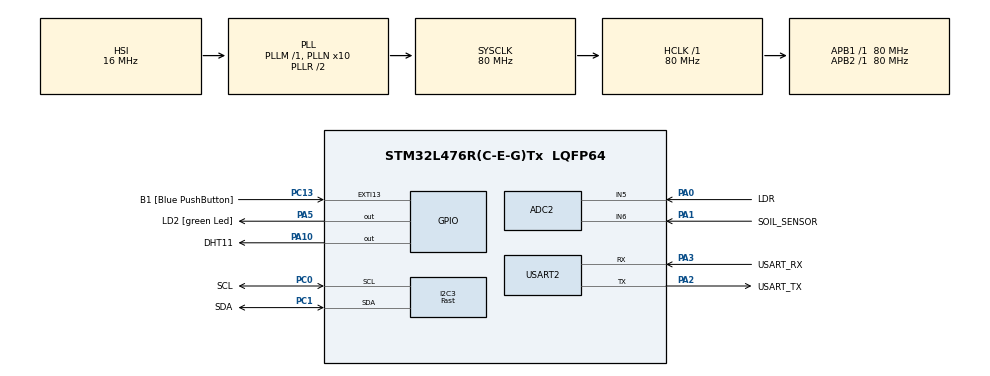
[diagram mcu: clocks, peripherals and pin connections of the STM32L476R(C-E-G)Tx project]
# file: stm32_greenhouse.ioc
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ADC2.Channel-0\#ChannelRegularConversion=ADC_CHANNEL_5
ADC2.Channel-1\#ChannelRegularConversion=ADC_CHANNEL_6
ADC2.ClockPrescaler=ADC_CLOCK_SYNC_PCLK_DIV1
ADC2.NbrOfConversion=2
ADC2.NbrOfConversionFlag=1
ADC2.OffsetNumber-0\#ChannelRegularConversion=ADC_OFFSET_NONE
ADC2.OffsetNumber-1\#ChannelRegularConversion=ADC_OFFSET_NONE
ADC2.Rank-0\#ChannelRegularConversion=1
ADC2.Rank-1\#ChannelRegularConversion=2
ADC2.SamplingTime-0\#ChannelRegularConversion=ADC_SAMPLETIME_247CYCLES_5
ADC2.SamplingTime-1\#ChannelRegularConversion=ADC_SAMPLETIME_247CYCLES_5
I2C3.I2C_Speed_Mode=I2C_Fast
I2C3.Timing=0x00702991
Mcu.Family=STM32L4
Mcu.Name=STM32L476R(C-E-G)Tx
Mcu.Package=LQFP64
NVIC.PriorityGroup=NVIC_PRIORITYGROUP_4
NVIC.USART2_IRQn=true\:0\:0\:false\:false\:true\:true\:true\:true
PA0.GPIO_Label=LDR
PA0.Signal=SharedAnalog_PA0
PA1.GPIO_Label=SOIL_SENSOR
PA1.Signal=ADCx_IN6
PA10.GPIO_Label=DHT11
PA10.Signal=GPIO_Output
PA13\ (JTMS-SWDIO).GPIO_Label=TMS
PA13\ (JTMS-SWDIO).Mode=Serial_Wire
PA13\ (JTMS-SWDIO).Signal=SYS_JTMS-SWDIO
PA14\ (JTCK-SWCLK).GPIO_Label=TCK
PA14\ (JTCK-SWCLK).Mode=Serial_Wire
PA14\ (JTCK-SWCLK).Signal=SYS_JTCK-SWCLK
PA2.GPIO_Label=USART_TX
PA2.GPIO_Mode=GPIO_MODE_AF_PP
PA2.GPIO_PuPd=GPIO_NOPULL
PA2.GPIO_Speed=GPIO_SPEED_FREQ_VERY_HIGH
PA2.Mode=Asynchronous
PA2.Signal=USART2_TX
PA3.GPIO_Label=USART_RX
PA3.GPIO_Mode=GPIO_MODE_AF_PP
PA3.GPIO_PuPd=GPIO_NOPULL
PA3.GPIO_Speed=GPIO_SPEED_FREQ_VERY_HIGH
PA3.Mode=Asynchronous
PA3.Signal=USART2_RX
PA5.GPIO_Label=LD2 [green Led]
PA5.GPIO_ModeDefaultOutputPP=GPIO_MODE_OUTPUT_PP
PA5.GPIO_PuPd=GPIO_NOPULL
PA5.GPIO_Speed=GPIO_SPEED_FREQ_LOW
PA5.Signal=GPIO_Output
PB3\ (JTDO-TRACESWO).GPIO_Label=SWO
PB3\ (JTDO-TRACESWO).Signal=SYS_JTDO-SWO
PC0.GPIO_Label=SCL
PC0.Mode=I2C
PC0.Signal=I2C3_SCL
PC1.GPIO_Label=SDA
PC1.Mode=I2C
PC1.Signal=I2C3_SDA
PC13.GPIO_Label=B1 [Blue PushButton]
PC13.GPIO_ModeDefaultEXTI=GPIO_MODE_IT_FALLING
PC13.GPIO_PuPd=GPIO_NOPULL
PC13.Signal=GPXTI13
PC14-OSC32_IN\ (PC14).Mode=LSE-External-Oscillator
PC14-OSC32_IN\ (PC14).Signal=RCC_OSC32_IN
PC15-OSC32_OUT\ (PC15).Mode=LSE-External-Oscillator
PC15-OSC32_OUT\ (PC15).Signal=RCC_OSC32_OUT
PH0-OSC_IN\ (PH0).Signal=RCC_OSC_IN
PH1-OSC_OUT\ (PH1).Signal=RCC_OSC_OUT
ProjectManager.HeapSize=0x200
ProjectManager.StackSize=0x400
ProjectManager.TargetToolchain=STM32CubeIDE
RCC.ADCFreq_Value=64000000
RCC.AHBFreq_Value=80000000
RCC.APB1Freq_Value=80000000
RCC.APB1TimFreq_Value=80000000
RCC.APB2Freq_Value=80000000
RCC.APB2TimFreq_Value=80000000
RCC.CortexFreq_Value=80000000
RCC.HCLKFreq_Value=80000000
RCC.HSE_VALUE=8000000
RCC.HSI_VALUE=16000000
RCC.MSI_VALUE=4000000
RCC.PLLN=10
RCC.PLLSourceVirtual=RCC_PLLSOURCE_HSI
RCC.PREFETCH_ENABLE=1
RCC.SYSCLKFreq_VALUE=80000000
RCC.SYSCLKSource=RCC_SYSCLKSOURCE_PLLCLK
RCC.USBFreq_Value=64000000
RCC.VCOOutputFreq_Value=160000000
SH.ADCx_IN6.0=ADC2_IN6,IN6-Single-Ended
SH.SharedAnalog_PA0.0=GPIO_Analog
SH.SharedAnalog_PA0.1=ADC2_IN5,IN5-Single-Ended
TIM6.Prescaler=79
USART2.VirtualMode-Asynchronous=VM_ASYNC
VP_TIM6_VS_ClockSourceINT.Mode=Enable_Timer
board=NUCLEO-L476RG

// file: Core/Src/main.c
/* USER CODE BEGIN Header */
/**
  ******************************************************************************
  * @file           : main.c
  * @brief          : Main program body
  ******************************************************************************
  * @attention
  *
  * Copyright (c) 2026 STMicroelectronics.
  * All rights reserved.
  *
  * This software is licensed under terms that can be found in the LICENSE file
  * in the root directory of this software component.
  * If no LICENSE file comes with this software, it is provided AS-IS.
  *
  ******************************************************************************
  */
/* USER CODE END Header */
#include "main.h"

/* USER CODE BEGIN Includes */
#include "fonts.h"
#include "ssd1306.h"

#include <stdio.h>
#include <stdlib.h>
#include <string.h>
/* USER CODE END Includes */

/* USER CODE BEGIN PD */
#define AIR_VALUE  3550
#define WATER_VALUE  1440

/* USER CODE END PD */

ADC_HandleTypeDef hadc2;

I2C_HandleTypeDef hi2c3;

TIM_HandleTypeDef htim6;

UART_HandleTypeDef huart2;

/* USER CODE BEGIN PV */

// LDR variables
uint32_t ldr = 0;
uint32_t ldr_percent = 0;

// Soil sensor variables
uint32_t soil_humidity = 0;
uint32_t soil_percent = 0;

// DHT11 variables
uint8_t response = 0;
uint8_t j;
float temp, hum;

/* USER CODE END PV */

void SystemClock_Config(void);
static void MX_GPIO_Init(void);
static void MX_USART2_UART_Init(void);
static void MX_ADC2_Init(void);
static void MX_TIM6_Init(void);
static void MX_I2C3_Init(void);

/* USER CODE BEGIN 0 */

static void DHT11_DelayUs(uint16_t us)
{
    __HAL_TIM_SET_COUNTER(&htim6, 0);
    while (__HAL_TIM_GET_COUNTER(&htim6) < us);
}

static void DHT11_SetOutput(void)
{
    GPIO_InitTypeDef GPIO_InitStruct = {0};
    GPIO_InitStruct.Pin = DHT11_Pin;
    GPIO_InitStruct.Mode = GPIO_MODE_OUTPUT_PP;
    GPIO_InitStruct.Pull = GPIO_NOPULL;
    GPIO_InitStruct.Speed = GPIO_SPEED_FREQ_LOW;
    HAL_GPIO_Init(DHT11_GPIO_Port, &GPIO_InitStruct);
}

static void DHT11_SetInput(void)
{
    GPIO_InitTypeDef GPIO_InitStruct = {0};
    GPIO_InitStruct.Pin = DHT11_Pin;
    GPIO_InitStruct.Mode = GPIO_MODE_INPUT;
    GPIO_InitStruct.Pull = GPIO_PULLUP;  // pull-up interne si pas de résistance externe
    HAL_GPIO_Init(DHT11_GPIO_Port, &GPIO_InitStruct);
}

uint8_t DHT11_Read(float *temperature, float *humidity)
{
    uint8_t data[5] = {0, 0, 0, 0, 0};

    // Send start signal
    DHT11_SetOutput();
    HAL_GPIO_WritePin(DHT11_GPIO_Port, DHT11_Pin, GPIO_PIN_RESET);
    HAL_Delay(18);                          // at least 18ms
    HAL_GPIO_WritePin(DHT11_GPIO_Port, DHT11_Pin, GPIO_PIN_SET);
    DHT11_DelayUs(30);                      // 20-40us before reading

    // Switch to input to read value
    DHT11_SetInput();

    // Check for response
    __HAL_TIM_SET_COUNTER(&htim6, 0);
    while (HAL_GPIO_ReadPin(DHT11_GPIO_Port, DHT11_Pin) == GPIO_PIN_SET) {
        if (__HAL_TIM_GET_COUNTER(&htim6) > 100) return 0;
    }

    __HAL_TIM_SET_COUNTER(&htim6, 0);
    while (HAL_GPIO_ReadPin(DHT11_GPIO_Port, DHT11_Pin) == GPIO_PIN_RESET) {
        if (__HAL_TIM_GET_COUNTER(&htim6) > 100) return 0;
    }

    __HAL_TIM_SET_COUNTER(&htim6, 0);
    while (HAL_GPIO_ReadPin(DHT11_GPIO_Port, DHT11_Pin) == GPIO_PIN_SET) {
        if (__HAL_TIM_GET_COUNTER(&htim6) > 100) return 0;
    }

    // Read 40 bits data (5 bytes)
    for (int i = 0; i < 40; i++) {
        // Each bit start with 50us in low state
        __HAL_TIM_SET_COUNTER(&htim6, 0);
        while (HAL_GPIO_ReadPin(DHT11_GPIO_Port, DHT11_Pin) == GPIO_PIN_RESET) {
            if (__HAL_TIM_GET_COUNTER(&htim6) > 100) return 0;
        }

        // Measure duration of high state
        __HAL_TIM_SET_COUNTER(&htim6, 0);
        while (HAL_GPIO_ReadPin(DHT11_GPIO_Port, DHT11_Pin) == GPIO_PIN_SET) {
            if (__HAL_TIM_GET_COUNTER(&htim6) > 200) return 0;
        }
        uint16_t duration = __HAL_TIM_GET_COUNTER(&htim6);

        // Decide if bit = 0 (duration = 28us) or bit = 1 (duration = 70us)
        int byteIndex = i / 8;
        data[byteIndex] <<= 1;
        if (duration > 40) {
            data[byteIndex] |= 1;
        }
    }

    // Checksum verification
    uint8_t checksum = data[0] + data[1] + data[2] + data[3];
    if (checksum != data[4]) {
        return 0;  // Transmission error
    }

    // Results
    *humidity = data[0];
    *temperature = data[2];

    return 1;
}

/* USER CODE END 0 */

int main(void)
{

  /* MCU Configuration--------------------------------------------------------*/

  /* Reset of all peripherals, Initializes the Flash interface and the Systick. */
  HAL_Init();

  /* Configure the system clock */
  SystemClock_Config();

  /* Initialize all configured peripherals */
  MX_GPIO_Init();
  MX_USART2_UART_Init();
  MX_ADC2_Init();
  MX_TIM6_Init();
  MX_I2C3_Init();
  /* USER CODE BEGIN 2 */
  HAL_TIM_Base_Start(&htim6);

  SSD1306_Init();
  SSD1306_GotoXY (0,10);
  SSD1306_Puts ("FDS", &Font_16x26, 1);
  SSD1306_GotoXY (0,43);
  SSD1306_Puts ("by AREM", &Font_11x18, 1);
  SSD1306_UpdateScreen();
  HAL_Delay (1000);

  SSD1306_Fill(0);
  SSD1306_UpdateScreen();

  /* USER CODE END 2 */

  /* Infinite loop */
  /* USER CODE BEGIN WHILE */
  while (1)
  {
	  HAL_Delay(500);

      // LDR (ADC2_IN5)
      HAL_ADC_Start(&hadc2);
      if(HAL_ADC_PollForConversion(&hadc2, 10) == HAL_OK)
      {
          ldr = HAL_ADC_GetValue(&hadc2);
          ldr_percent = 100 * ldr/4095;
      }

	  // SOIL_SENSOR (ADC2_IN6)
      if(HAL_ADC_PollForConversion(&hadc2, 10) == HAL_OK)
      {
    	  soil_humidity = HAL_ADC_GetValue(&hadc2);
    	  float soil_pct_f = 100.0f * (AIR_VALUE - (float)soil_humidity) / (AIR_VALUE - WATER_VALUE);
    	  if (soil_pct_f < 0.0f)   soil_pct_f = 0.0f;
    	  if (soil_pct_f > 100.0f) soil_pct_f = 100.0f;
    	  soil_percent = (uint32_t)soil_pct_f;
      }

      HAL_ADC_Stop(&hadc2);

      // DHT11 (PA10)
      DHT11_Read(&temp, &hum);

      // Print value in console
	  char msg[150];

	  sprintf(msg, "ldr_raw : %lu | ldr_percent : %lu | soil_raw : %lu | soil_percent : %lu | DHT11 Temp: %.0f C | Hum: %.0f %% \r\n",
			  ldr,
			  ldr_percent,
			  soil_humidity,
			  soil_percent,
			  temp,
			  hum);
	  HAL_UART_Transmit(&huart2, (uint8_t *)msg, strlen(msg), HAL_MAX_DELAY);

	  char soil_str[10];
	  char ldr_str[10];
	  char temp_str[10];
	  itoa(soil_percent, soil_str, 10);
	  itoa(ldr_percent, ldr_str, 10);
	  itoa(temp, temp_str, 10);

	  HAL_Delay(1800);
	  // Clear display
	  SSD1306_Fill(0);

	  // Display values soil humidity
	  SSD1306_GotoXY (0,0);
	  SSD1306_Puts (soil_str, &Font_16x26, 1);
	  SSD1306_GotoXY (40,0);
	  SSD1306_Puts ("%", &Font_16x26, 1);
	  SSD1306_GotoXY (0,28);
	  SSD1306_Puts ("humidite ", &Font_11x18, 1);
	  SSD1306_GotoXY (0,45);
	  SSD1306_Puts ("du sol", &Font_11x18, 1);
	  SSD1306_UpdateScreen();

	  HAL_Delay(2000);
	  // Clear display
	  SSD1306_Fill(0);

	  // Display values humidity
	  SSD1306_GotoXY (0,0);
	  SSD1306_Puts (ldr_str, &Font_16x26, 1);
	  SSD1306_GotoXY (40,0);
	  SSD1306_Puts ("%", &Font_16x26, 1);
	  SSD1306_GotoXY (0,28);
	  SSD1306_Puts ("luminosite ", &Font_11x18, 1);
	  SSD1306_UpdateScreen();

	  HAL_Delay(2000);
	  // Clear display
	  SSD1306_Fill(0);

	  // Display values temperature
	  SSD1306_GotoXY (0,0);
	  SSD1306_Puts (temp_str, &Font_16x26, 1);
	  SSD1306_GotoXY (40,6);
	  SSD1306_Puts ("deg", &Font_11x18, 1);
	  SSD1306_GotoXY (0,28);
	  SSD1306_Puts ("temperature", &Font_11x18, 1);
	  SSD1306_UpdateScreen();

    /* USER CODE END WHILE */

  }
}

void SystemClock_Config(void)
{
  RCC_OscInitTypeDef RCC_OscInitStruct = {0};
  RCC_ClkInitTypeDef RCC_ClkInitStruct = {0};

  /** Configure the main internal regulator output voltage
  */
  if (HAL_PWREx_ControlVoltageScaling(PWR_REGULATOR_VOLTAGE_SCALE1) != HAL_OK)
  {
    Error_Handler();
  }

  /** Initializes the RCC Oscillators according to the specified parameters
  * in the RCC_OscInitTypeDef structure.
  */
  RCC_OscInitStruct.OscillatorType = RCC_OSCILLATORTYPE_HSI;
  RCC_OscInitStruct.HSIState = RCC_HSI_ON;
  RCC_OscInitStruct.HSICalibrationValue = RCC_HSICALIBRATION_DEFAULT;
  RCC_OscInitStruct.PLL.PLLState = RCC_PLL_ON;
  RCC_OscInitStruct.PLL.PLLSource = RCC_PLLSOURCE_HSI;
  RCC_OscInitStruct.PLL.PLLM = 1;
  RCC_OscInitStruct.PLL.PLLN = 10;
  RCC_OscInitStruct.PLL.PLLP = RCC_PLLP_DIV7;
  RCC_OscInitStruct.PLL.PLLQ = RCC_PLLQ_DIV2;
  RCC_OscInitStruct.PLL.PLLR = RCC_PLLR_DIV2;
  if (HAL_RCC_OscConfig(&RCC_OscInitStruct) != HAL_OK)
  {
    Error_Handler();
  }

  /** Initializes the CPU, AHB and APB buses clocks
  */
  RCC_ClkInitStruct.ClockType = RCC_CLOCKTYPE_HCLK|RCC_CLOCKTYPE_SYSCLK
                              |RCC_CLOCKTYPE_PCLK1|RCC_CLOCKTYPE_PCLK2;
  RCC_ClkInitStruct.SYSCLKSource = RCC_SYSCLKSOURCE_PLLCLK;
  RCC_ClkInitStruct.AHBCLKDivider = RCC_SYSCLK_DIV1;
  RCC_ClkInitStruct.APB1CLKDivider = RCC_HCLK_DIV1;
  RCC_ClkInitStruct.APB2CLKDivider = RCC_HCLK_DIV1;

  if (HAL_RCC_ClockConfig(&RCC_ClkInitStruct, FLASH_LATENCY_4) != HAL_OK)
  {
    Error_Handler();
  }
}

static void MX_ADC2_Init(void)
{

  ADC_ChannelConfTypeDef sConfig = {0};

  /** Common config
  */
  hadc2.Instance = ADC2;
  hadc2.Init.ClockPrescaler = ADC_CLOCK_SYNC_PCLK_DIV1;
  hadc2.Init.Resolution = ADC_RESOLUTION_12B;
  hadc2.Init.DataAlign = ADC_DATAALIGN_RIGHT;
  hadc2.Init.ScanConvMode = ADC_SCAN_ENABLE;
  hadc2.Init.EOCSelection = ADC_EOC_SINGLE_CONV;
  hadc2.Init.LowPowerAutoWait = DISABLE;
  hadc2.Init.ContinuousConvMode = DISABLE;
  hadc2.Init.NbrOfConversion = 2;
  hadc2.Init.DiscontinuousConvMode = DISABLE;
  hadc2.Init.ExternalTrigConv = ADC_SOFTWARE_START;
  hadc2.Init.ExternalTrigConvEdge = ADC_EXTERNALTRIGCONVEDGE_NONE;
  hadc2.Init.DMAContinuousRequests = DISABLE;
  hadc2.Init.Overrun = ADC_OVR_DATA_PRESERVED;
  hadc2.Init.OversamplingMode = DISABLE;
  if (HAL_ADC_Init(&hadc2) != HAL_OK)
  {
    Error_Handler();
  }

  /** Configure Regular Channel
  */
  sConfig.Channel = ADC_CHANNEL_5;
  sConfig.Rank = ADC_REGULAR_RANK_1;
  sConfig.SamplingTime = ADC_SAMPLETIME_247CYCLES_5;
  sConfig.SingleDiff = ADC_SINGLE_ENDED;
  sConfig.OffsetNumber = ADC_OFFSET_NONE;
  sConfig.Offset = 0;
  if (HAL_ADC_ConfigChannel(&hadc2, &sConfig) != HAL_OK)
  {
    Error_Handler();
  }

  /** Configure Regular Channel
  */
  sConfig.Channel = ADC_CHANNEL_6;
  sConfig.Rank = ADC_REGULAR_RANK_2;
  if (HAL_ADC_ConfigChannel(&hadc2, &sConfig) != HAL_OK)
  {
    Error_Handler();
  }

}

static void MX_I2C3_Init(void)
{

  hi2c3.Instance = I2C3;
  hi2c3.Init.Timing = 0x00702991;
  hi2c3.Init.OwnAddress1 = 0;
  hi2c3.Init.AddressingMode = I2C_ADDRESSINGMODE_7BIT;
  hi2c3.Init.DualAddressMode = I2C_DUALADDRESS_DISABLE;
  hi2c3.Init.OwnAddress2 = 0;
  hi2c3.Init.OwnAddress2Masks = I2C_OA2_NOMASK;
  hi2c3.Init.GeneralCallMode = I2C_GENERALCALL_DISABLE;
  hi2c3.Init.NoStretchMode = I2C_NOSTRETCH_DISABLE;
  if (HAL_I2C_Init(&hi2c3) != HAL_OK)
  {
    Error_Handler();
  }

  /** Configure Analogue filter
  */
  if (HAL_I2CEx_ConfigAnalogFilter(&hi2c3, I2C_ANALOGFILTER_ENABLE) != HAL_OK)
  {
    Error_Handler();
  }

  /** Configure Digital filter
  */
  if (HAL_I2CEx_ConfigDigitalFilter(&hi2c3, 0) != HAL_OK)
  {
    Error_Handler();
  }

}

static void MX_TIM6_Init(void)
{

  TIM_MasterConfigTypeDef sMasterConfig = {0};

  htim6.Instance = TIM6;
  htim6.Init.Prescaler = 79;
  htim6.Init.CounterMode = TIM_COUNTERMODE_UP;
  htim6.Init.Period = 65535;
  htim6.Init.AutoReloadPreload = TIM_AUTORELOAD_PRELOAD_DISABLE;
  if (HAL_TIM_Base_Init(&htim6) != HAL_OK)
  {
    Error_Handler();
  }
  sMasterConfig.MasterOutputTrigger = TIM_TRGO_RESET;
  sMasterConfig.MasterSlaveMode = TIM_MASTERSLAVEMODE_DISABLE;
  if (HAL_TIMEx_MasterConfigSynchronization(&htim6, &sMasterConfig) != HAL_OK)
  {
    Error_Handler();
  }

}

static void MX_USART2_UART_Init(void)
{

  huart2.Instance = USART2;
  huart2.Init.BaudRate = 115200;
  huart2.Init.WordLength = UART_WORDLENGTH_8B;
  huart2.Init.StopBits = UART_STOPBITS_1;
  huart2.Init.Parity = UART_PARITY_NONE;
  huart2.Init.Mode = UART_MODE_TX_RX;
  huart2.Init.HwFlowCtl = UART_HWCONTROL_NONE;
  huart2.Init.OverSampling = UART_OVERSAMPLING_16;
  huart2.Init.OneBitSampling = UART_ONE_BIT_SAMPLE_DISABLE;
  huart2.AdvancedInit.AdvFeatureInit = UART_ADVFEATURE_NO_INIT;
  if (HAL_UART_Init(&huart2) != HAL_OK)
  {
    Error_Handler();
  }

}

static void MX_GPIO_Init(void)
{
  GPIO_InitTypeDef GPIO_InitStruct = {0};

  /* GPIO Ports Clock Enable */
  __HAL_RCC_GPIOC_CLK_ENABLE();
  __HAL_RCC_GPIOH_CLK_ENABLE();
  __HAL_RCC_GPIOA_CLK_ENABLE();
  __HAL_RCC_GPIOB_CLK_ENABLE();

  /*Configure GPIO pin Output Level */
  HAL_GPIO_WritePin(GPIOA, LD2_Pin|DHT11_Pin, GPIO_PIN_RESET);

  /*Configure GPIO pin : B1_Pin */
  GPIO_InitStruct.Pin = B1_Pin;
  GPIO_InitStruct.Mode = GPIO_MODE_IT_FALLING;
  GPIO_InitStruct.Pull = GPIO_NOPULL;
  HAL_GPIO_Init(B1_GPIO_Port, &GPIO_InitStruct);

  /*Configure GPIO pins : LD2_Pin DHT11_Pin */
  GPIO_InitStruct.Pin = LD2_Pin|DHT11_Pin;
  GPIO_InitStruct.Mode = GPIO_MODE_OUTPUT_PP;
  GPIO_InitStruct.Pull = GPIO_NOPULL;
  GPIO_InitStruct.Speed = GPIO_SPEED_FREQ_LOW;
  HAL_GPIO_Init(GPIOA, &GPIO_InitStruct);

}

void Error_Handler(void)
{
  __disable_irq();
  while (1)
  {
  }
}
